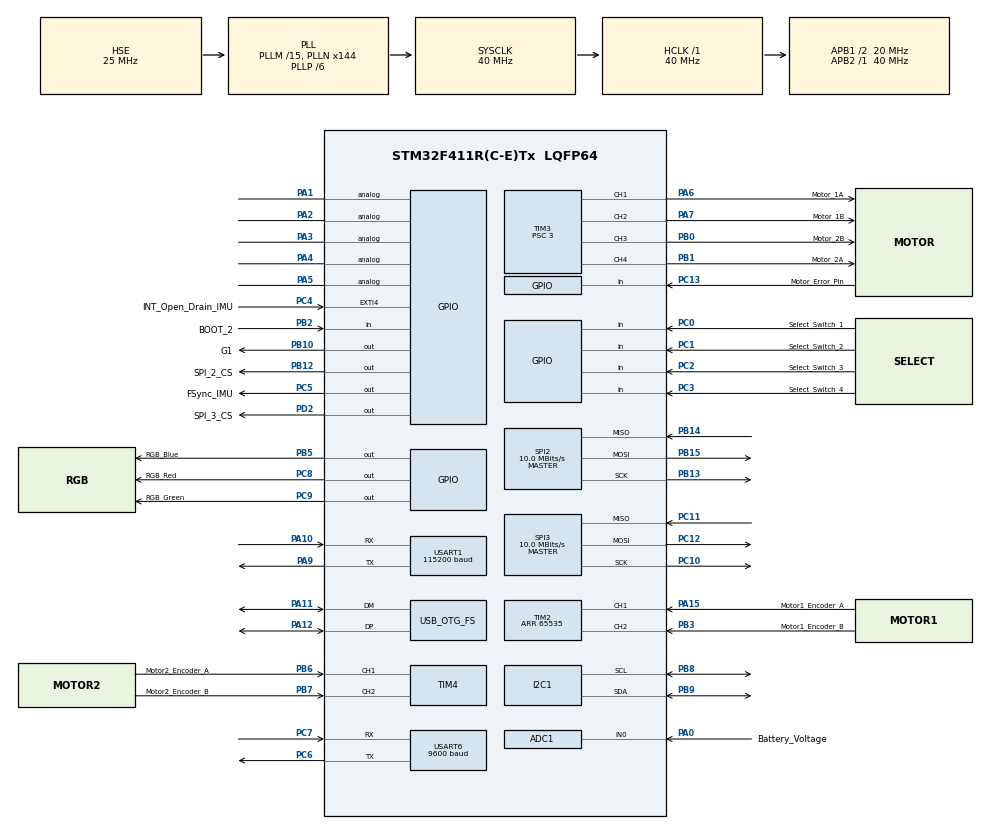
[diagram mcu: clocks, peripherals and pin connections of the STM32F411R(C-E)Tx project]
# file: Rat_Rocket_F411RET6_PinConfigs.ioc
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ADC1.Channel-7\#ChannelRegularConversion=ADC_CHANNEL_0
ADC1.NbrOfConversionFlag=1
ADC1.Rank-7\#ChannelRegularConversion=1
ADC1.SamplingTime-7\#ChannelRegularConversion=ADC_SAMPLETIME_480CYCLES
ADC1.master=1
Dma.Request0=USART1_RX
Dma.USART1_RX.0.Direction=DMA_PERIPH_TO_MEMORY
Dma.USART1_RX.0.FIFOMode=DMA_FIFOMODE_DISABLE
Dma.USART1_RX.0.Instance=DMA2_Stream2
Dma.USART1_RX.0.MemDataAlignment=DMA_MDATAALIGN_BYTE
Dma.USART1_RX.0.MemInc=DMA_MINC_ENABLE
Dma.USART1_RX.0.Mode=DMA_NORMAL
Dma.USART1_RX.0.PeriphDataAlignment=DMA_PDATAALIGN_BYTE
Dma.USART1_RX.0.PeriphInc=DMA_PINC_DISABLE
Dma.USART1_RX.0.Priority=DMA_PRIORITY_LOW
FREERTOS.Queues01=motorQueue,4,uint8_t,0,Dynamic,NULL,NULL;mazeQueue,4,20,1,Dynamic,NULL,NULL
FREERTOS.Tasks01=defaultTask,24,512,StartDefaultTask,Default,NULL,Dynamic,NULL,NULL
Mcu.Family=STM32F4
Mcu.Name=STM32F411R(C-E)Tx
Mcu.Package=LQFP64
NVIC.DMA2_Stream2_IRQn=true\:5\:0\:false\:false\:true\:true\:false\:true\:true
NVIC.OTG_FS_IRQn=true\:5\:0\:false\:false\:true\:true\:false\:true\:true
NVIC.PriorityGroup=NVIC_PRIORITYGROUP_4
NVIC.TIM1_UP_TIM10_IRQn=true\:15\:0\:false\:false\:true\:false\:false\:true\:true
NVIC.TimeBase=TIM1_UP_TIM10_IRQn
NVIC.TimeBaseIP=TIM10
NVIC.USART1_IRQn=true\:5\:0\:false\:false\:true\:true\:true\:true\:true
NVIC.USART6_IRQn=true\:5\:0\:false\:false\:true\:true\:true\:true\:true
PA0-WKUP.GPIO_Label=Battery_Voltage
PA0-WKUP.Signal=ADCx_IN0
PA1.Signal=SharedAnalog_PA1
PA10.Mode=Asynchronous
PA10.Signal=USART1_RX
PA11.Mode=Device_Only
PA11.Signal=USB_OTG_FS_DM
PA12.Mode=Device_Only
PA12.Signal=USB_OTG_FS_DP
PA13.Mode=Serial_Wire
PA13.Signal=SYS_JTMS-SWDIO
PA14.Mode=Serial_Wire
PA14.Signal=SYS_JTCK-SWCLK
PA15.GPIO_Label=Motor1_Encoder_A
PA15.Signal=S_TIM2_CH1_ETR
PA2.Signal=SharedAnalog_PA2
PA3.Signal=SharedAnalog_PA3
PA4.Signal=SharedAnalog_PA4
PA5.Signal=SharedAnalog_PA5
PA6.GPIO_Label=Motor_1A
PA6.Signal=S_TIM3_CH1
PA7.GPIO_Label=Motor_1B
PA7.Signal=S_TIM3_CH2
PA8.Signal=I2C3_SCL
PA9.Mode=Asynchronous
PA9.Signal=USART1_TX
PB0.GPIO_Label=Motor_2B
PB0.Signal=S_TIM3_CH3
PB1.GPIO_Label=Motor_2A
PB1.Signal=S_TIM3_CH4
PB10.GPIO_Label=G1
PB10.Signal=GPIO_Output
PB12.GPIO_Label=SPI_2_CS
PB12.Signal=GPIO_Output
PB13.Mode=Full_Duplex_Master
PB13.Signal=SPI2_SCK
PB14.Mode=Full_Duplex_Master
PB14.Signal=SPI2_MISO
PB15.Mode=Full_Duplex_Master
PB15.Signal=SPI2_MOSI
PB2.GPIO_Label=BOOT_2
PB2.Signal=GPIO_Input
PB3.GPIO_Label=Motor1_Encoder_B
PB3.Signal=S_TIM2_CH2
PB4.Signal=I2C3_SDA
PB5.GPIO_Label=RGB_Blue
PB5.Signal=GPIO_Output
PB6.GPIO_Label=Motor2_Encoder_A
PB6.Signal=S_TIM4_CH1
PB7.GPIO_Label=Motor2_Encoder_B
PB7.Signal=S_TIM4_CH2
PB8.Mode=I2C
PB8.Signal=I2C1_SCL
PB9.Mode=I2C
PB9.Signal=I2C1_SDA
PC0.GPIO_Label=Select_Switch_1
PC0.Signal=GPIO_Input
PC1.GPIO_Label=Select_Switch_2
PC1.Signal=GPIO_Input
PC10.Mode=Full_Duplex_Master
PC10.Signal=SPI3_SCK
PC11.Mode=Full_Duplex_Master
PC11.Signal=SPI3_MISO
PC12.Mode=Full_Duplex_Master
PC12.Signal=SPI3_MOSI
PC13-ANTI_TAMP.GPIO_Label=Motor_Error_Pin
PC13-ANTI_TAMP.Signal=GPIO_Input
PC2.GPIO_Label=Select_Switch_3
PC2.Signal=GPIO_Input
PC3.GPIO_Label=Select_Switch_4
PC3.Signal=GPIO_Input
PC4.GPIO_Label=INT_Open_Drain_IMU
PC4.Signal=GPXTI4
PC5.GPIO_Label=FSync_IMU
PC5.Signal=GPIO_Output
PC6.Mode=Asynchronous
PC6.Signal=USART6_TX
PC7.Mode=Asynchronous
PC7.Signal=USART6_RX
PC8.GPIO_Label=RGB_Red
PC8.Signal=GPIO_Output
PC9.GPIO_Label=RGB_Green
PC9.Signal=GPIO_Output
PD2.GPIO_Label=SPI_3_CS
PD2.Signal=GPIO_Output
PH0\ -\ OSC_IN.Mode=HSE-External-Oscillator
PH0\ -\ OSC_IN.Signal=RCC_OSC_IN
PH1\ -\ OSC_OUT.Mode=HSE-External-Oscillator
PH1\ -\ OSC_OUT.Signal=RCC_OSC_OUT
ProjectManager.HeapSize=0x200
ProjectManager.StackSize=0x400
ProjectManager.TargetToolchain=CMake
RCC.48MHZClocksFreq_Value=48000000
RCC.AHBFreq_Value=40000000
RCC.APB1CLKDivider=RCC_HCLK_DIV2
RCC.APB1Freq_Value=20000000
RCC.APB1TimFreq_Value=40000000
RCC.APB2Freq_Value=40000000
RCC.APB2TimFreq_Value=40000000
RCC.CortexFreq_Value=40000000
RCC.HCLKFreq_Value=40000000
RCC.HSE_VALUE=25000000
RCC.HSI_VALUE=16000000
RCC.LSE_VALUE=32768
RCC.PLLM=15
RCC.PLLN=144
RCC.PLLP=RCC_PLLP_DIV6
RCC.PLLQ=5
RCC.SYSCLKFreq_VALUE=40000000
RCC.SYSCLKSource=RCC_SYSCLKSOURCE_PLLCLK
RCC.VCOOutputFreq_Value=240000000
SH.ADCx_IN0.0=ADC1_IN0,IN0
SH.S_TIM2_CH1_ETR.0=TIM2_CH1,Encoder_Interface
SH.S_TIM2_CH2.0=TIM2_CH2,Encoder_Interface
SH.S_TIM3_CH1.0=TIM3_CH1,PWM Generation1 CH1
SH.S_TIM3_CH2.0=TIM3_CH2,PWM Generation2 CH2
SH.S_TIM3_CH3.0=TIM3_CH3,PWM Generation3 CH3
SH.S_TIM3_CH4.0=TIM3_CH4,PWM Generation4 CH4
SH.S_TIM4_CH1.0=TIM4_CH1,Encoder_Interface
SH.S_TIM4_CH2.0=TIM4_CH2,Encoder_Interface
SH.SharedAnalog_PA1.0=GPIO_Analog
SH.SharedAnalog_PA1.1=ADC1_IN1
SH.SharedAnalog_PA2.0=GPIO_Analog
SH.SharedAnalog_PA2.1=ADC1_IN2
SH.SharedAnalog_PA3.0=GPIO_Analog
SH.SharedAnalog_PA3.1=ADC1_IN3
SH.SharedAnalog_PA4.0=GPIO_Analog
SH.SharedAnalog_PA4.1=ADC1_IN4
SH.SharedAnalog_PA5.0=GPIO_Analog
SH.SharedAnalog_PA5.1=ADC1_IN5
SPI2.CalculateBaudRate=10.0 MBits/s
SPI2.Direction=SPI_DIRECTION_2LINES
SPI2.Mode=SPI_MODE_MASTER
SPI2.VirtualType=VM_MASTER
SPI3.CalculateBaudRate=10.0 MBits/s
SPI3.Direction=SPI_DIRECTION_2LINES
SPI3.Mode=SPI_MODE_MASTER
SPI3.VirtualType=VM_MASTER
TIM2.EncoderMode=TIM_ENCODERMODE_TI12
TIM2.IC1Filter=2
TIM2.IC2Filter=2
TIM2.Period=65535
TIM3.AutoReloadPreload=TIM_AUTORELOAD_PRELOAD_ENABLE
TIM3.Channel-PWM\ Generation1\ CH1=TIM_CHANNEL_1
TIM3.Channel-PWM\ Generation2\ CH2=TIM_CHANNEL_2
TIM3.Channel-PWM\ Generation3\ CH3=TIM_CHANNEL_3
TIM3.Channel-PWM\ Generation4\ CH4=TIM_CHANNEL_4
TIM3.Prescaler=3
TIM4.EncoderMode=TIM_ENCODERMODE_TI12
USART1.BaudRate=115200
USART1.VirtualMode=VM_ASYNC
USART6.BaudRate=9600
USART6.VirtualMode=VM_ASYNC
USB_DEVICE.CLASS_NAME_FS=CDC
USB_DEVICE.VirtualMode=Cdc
USB_DEVICE.VirtualModeFS=Cdc_FS
USB_OTG_FS.VirtualMode=Device_Only
VP_FREERTOS_VS_CMSIS_V2.Mode=CMSIS_V2
VP_SYS_VS_tim10.Mode=TIM10
VP_TIM3_VS_ClockSourceINT.Mode=Internal
VP_USB_DEVICE_VS_USB_DEVICE_CDC_FS.Mode=CDC_FS
board=custom

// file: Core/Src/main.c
/* USER CODE BEGIN Header */
/**
  ******************************************************************************
  * @file           : main.c
  * @brief          : Main program body
  ******************************************************************************
  * @attention
  *
  * Copyright (c) 2026 STMicroelectronics.
  * All rights reserved.
  *
  * This software is licensed under terms that can be found in the LICENSE file
  * in the root directory of this software component.
  * If no LICENSE file comes with this software, it is provided AS-IS.
  *
  ******************************************************************************
  */
/* USER CODE END Header */
#include "main.h"
#include "cmsis_os.h"
#include "adc.h"
#include "dma.h"
#include "i2c.h"
#include "spi.h"
#include "tim.h"
#include "usart.h"
#include "usb_device.h"
#include "gpio.h"

/* USER CODE BEGIN Includes */
#include "comm_uart.h"
#include "bt_log.h"
#include "motor.h"
/* USER CODE END Includes */

void SystemClock_Config(void);
void MX_FREERTOS_Init(void);

int main(void)
{

  /* MCU Configuration--------------------------------------------------------*/

  /* Reset of all peripherals, Initializes the Flash interface and the Systick. */
  HAL_Init();

  /* Configure the system clock */
  SystemClock_Config();

  /* Initialize all configured peripherals */
  MX_GPIO_Init();
  MX_DMA_Init();
  MX_ADC1_Init();
  MX_I2C1_Init();
  MX_SPI2_Init();
  MX_SPI3_Init();
  MX_TIM2_Init();
  MX_TIM3_Init();
  MX_TIM4_Init();
  MX_USART1_UART_Init();
  MX_USART6_UART_Init();
  /* USER CODE BEGIN 2 */

  UART_Comm_Init(); // initialize DMA Custom written code
  BT_Log_Init();    // Bluetooth console on USART6 (RX interrupt + TX ring buffer)
  HAL_TIM_PWM_Start(&htim3, TIM_CHANNEL_1);
  HAL_TIM_PWM_Start(&htim3, TIM_CHANNEL_2);
  HAL_TIM_PWM_Start(&htim3, TIM_CHANNEL_3);
  HAL_TIM_PWM_Start(&htim3, TIM_CHANNEL_4);

  TIM3->ARR = 1010; //Timer Clock 40Mhz, PSC 3 , Approx 10Khz(9990)
#if !MOTOR_OUTPUTS_ENABLED
  Motor_PinsHighZ();   /* driver short (2026-11-07): keep the MCU off the driver inputs */
#endif

  // Start Encoder Once
  HAL_TIM_Encoder_Start(&htim2, TIM_CHANNEL_ALL); // for Right Encoder
  TIM2->CNT = 0;

  HAL_TIM_Encoder_Start(&htim4, TIM_CHANNEL_ALL); // for Left Encoder
  TIM4->CNT = 0;

  /* USER CODE END 2 */

  /* Init scheduler */
  osKernelInitialize();

  /* Call init function for freertos objects (in cmsis_os2.c) */
  MX_FREERTOS_Init();

  /* Start scheduler */
  osKernelStart();

  /* We should never get here as control is now taken by the scheduler */

  /* Infinite loop */
  while (1)
  {

  }
}

void SystemClock_Config(void)
{
  RCC_OscInitTypeDef RCC_OscInitStruct = {0};
  RCC_ClkInitTypeDef RCC_ClkInitStruct = {0};

  /** Configure the main internal regulator output voltage
  */
  __HAL_RCC_PWR_CLK_ENABLE();
  __HAL_PWR_VOLTAGESCALING_CONFIG(PWR_REGULATOR_VOLTAGE_SCALE1);

  /** Initializes the RCC Oscillators according to the specified parameters
  * in the RCC_OscInitTypeDef structure.
  */
  RCC_OscInitStruct.OscillatorType = RCC_OSCILLATORTYPE_HSE;
  RCC_OscInitStruct.HSEState = RCC_HSE_ON;
  RCC_OscInitStruct.PLL.PLLState = RCC_PLL_ON;
  RCC_OscInitStruct.PLL.PLLSource = RCC_PLLSOURCE_HSE;
  RCC_OscInitStruct.PLL.PLLM = 15;
  RCC_OscInitStruct.PLL.PLLN = 144;
  RCC_OscInitStruct.PLL.PLLP = RCC_PLLP_DIV6;
  RCC_OscInitStruct.PLL.PLLQ = 5;
  if (HAL_RCC_OscConfig(&RCC_OscInitStruct) != HAL_OK)
  {
    Error_Handler();
  }

  /** Initializes the CPU, AHB and APB buses clocks
  */
  RCC_ClkInitStruct.ClockType = RCC_CLOCKTYPE_HCLK|RCC_CLOCKTYPE_SYSCLK
                              |RCC_CLOCKTYPE_PCLK1|RCC_CLOCKTYPE_PCLK2;
  RCC_ClkInitStruct.SYSCLKSource = RCC_SYSCLKSOURCE_PLLCLK;
  RCC_ClkInitStruct.AHBCLKDivider = RCC_SYSCLK_DIV1;
  RCC_ClkInitStruct.APB1CLKDivider = RCC_HCLK_DIV2;
  RCC_ClkInitStruct.APB2CLKDivider = RCC_HCLK_DIV1;

  if (HAL_RCC_ClockConfig(&RCC_ClkInitStruct, FLASH_LATENCY_1) != HAL_OK)
  {
    Error_Handler();
  }
}

void HAL_TIM_PeriodElapsedCallback(TIM_HandleTypeDef *htim)
{
  if (htim->Instance == TIM10) {
    HAL_IncTick();
  }
}

void Error_Handler(void)
{
  __disable_irq();
  while (1)
  {
  }
}

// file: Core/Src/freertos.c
/* USER CODE BEGIN Header */
/**
  ******************************************************************************
  * File Name          : freertos.c
  * Description        : Code for freertos applications
  ******************************************************************************
  * @attention
  *
  * Copyright (c) 2026 STMicroelectronics.
  * All rights reserved.
  *
  * This software is licensed under terms that can be found in the LICENSE file
  * in the root directory of this software component.
  * If no LICENSE file comes with this software, it is provided AS-IS.
  *
  ******************************************************************************
  */
/* USER CODE END Header */

#include "FreeRTOS.h"
#include "task.h"
#include "main.h"
#include "cmsis_os.h"

/* USER CODE BEGIN Includes */

#include "debug_log.h"
#include "motor.h"
#include "maze_main.h"
#include "bt_log.h"
#include "dip_switch.h"
#include "app_bt_test.h"
#include "app_motor_test.h"
#include "app_pid_test.h"
#include "app_maze.h"
#include <stdint.h>
/* USER CODE END Includes */

/* Definitions for defaultTask */
osThreadId_t defaultTaskHandle;
const osThreadAttr_t defaultTask_attributes = {
  .name = "defaultTask",
  .stack_size = 512 * 4,
  .priority = (osPriority_t) osPriorityNormal,
};
/* Definitions for motorQueue */
osMessageQueueId_t motorQueueHandle;
const osMessageQueueAttr_t motorQueue_attributes = {
  .name = "motorQueue"
};
/* Definitions for mazeQueue */
osMessageQueueId_t mazeQueueHandle;
const osMessageQueueAttr_t mazeQueue_attributes = {
  .name = "mazeQueue"
};

/* USER CODE BEGIN FunctionPrototypes */

osThreadId_t encoderTaskHandle;
const osThreadAttr_t encoderTask_attributes = {
  .name = "encoderTask",
  .stack_size = 128 * 4,
  .priority = (osPriority_t) osPriorityNormal,
};

void StartEncoderTask(void *argument);

/* USER CODE END FunctionPrototypes */

void StartDefaultTask(void *argument);

extern void MX_USB_DEVICE_Init(void);
void MX_FREERTOS_Init(void); /* (MISRA C 2004 rule 8.1) */

void MX_FREERTOS_Init(void) {

  /* Create the queue(s) */
  /* creation of motorQueue */
  motorQueueHandle = osMessageQueueNew (4, sizeof(uint8_t), &motorQueue_attributes);

  /* creation of mazeQueue */
  mazeQueueHandle = osMessageQueueNew (4, 20, &mazeQueue_attributes);

  /* Create the thread(s) */
  /* creation of defaultTask */
  defaultTaskHandle = osThreadNew(StartDefaultTask, NULL, &defaultTask_attributes);

  /* USER CODE BEGIN RTOS_THREADS */
  /* add threads, ... */
  encoderTaskHandle = osThreadNew(StartEncoderTask, NULL, &encoderTask_attributes);
  /* USER CODE END RTOS_THREADS */

}

void StartDefaultTask(void *argument)
{
  /* init code for USB_DEVICE */
  MX_USB_DEVICE_Init();
  /* USER CODE BEGIN StartDefaultTask */

  stop_Slow();

  /* Mode is chosen once at boot from the DIP switches. */
  uint8_t dip = DIP_Read();
  BT_LOG("Boot: DIP=0x%X mode=%s", dip, DIP_ModeName(dip));
#if !MOTOR_OUTPUTS_ENABLED
  BT_LOG("[MOTOR] driver outputs OFF (pins analog, see motor.h) - push the robot by hand");
#endif

  switch (dip) {
    case APP_MODE_BT_TEST:
      BtTest_Run(dip);   /* never returns */
      break;
    case APP_MODE_MOTOR_TEST:
      MotorTest_Run(dip); /* never returns */
      break;
    case APP_MODE_PID_TEST:
      PidTest_Run(dip);   /* never returns */
      break;
    case APP_MODE_MAZE:
      MazeApp_Run(dip);   /* never returns */
      break;
    case APP_MODE_WEB_SIM:
      break;             /* continue with the web-simulator flow below */
    default:
      BT_LOG("No mode assigned to DIP=0x%X, idling with motors off", dip);
      for (;;) { osDelay(1000); }
  }

  LOG_INFO("Main Maze begins");
  /*
  * Initialise the Walls based on out "L" finger rule.
  * All boundaries are marked as wall present and rest all as unseen
  */
  initWalls();

  // assign the goal.
  CELL goal = END;

  // set current cell to 0,0
  CURRENT_CELL.x = 0;
  CURRENT_CELL.y = 0;

  // Set current pointing Direction
  CURRENT_ABSOLUTE_DIRECTION = NORTH;

  /* Infinite loop */
  for(;;)
  {
    // SEND_TMSG("%s", test_Var);
    // do update walls and propagate Cost till current cell != goal
    gotoGoal(goal);
    osDelay(100);
    // give home as new goal and make the bot come back.
    // gotoGoal((CELL){0,0});
    // osDelay(100);
    LOG_INFO("Reached Home");

  }
  /* USER CODE END StartDefaultTask */
}

/* USER CODE BEGIN Application */

void StartEncoderTask(void *argument)
{
  /* USER CODE BEGIN StartEncoderTask */

  static int32_t prev_count_LE = 0;     // for Left Encoder
  static uint8_t prev_dir_LE = 0xFF;   // invalid initial value for Left Encoder

  static int32_t prev_count_RE = 0;     // for Right Encoder
  static uint8_t prev_dir_RE = 0xFF;   // invalid initial value for Right Encoder

  // Get the motor Direction values from the Queue
  MotionDirection nextMove = NONE;

   /* Infinite loop */
  /* Infinite loop */
  for(;;)
  {
    if (osMessageQueueGet(motorQueueHandle, &nextMove, 0, osWaitForever) == osOK) {
      switch (nextMove) {
        case FORWARD: {
          forward(850, 850);
          osDelay(200);
          stop_Slow();
          SEND_TMSG("FORWARD");
         }
        break;
        case REVERSE: {
          // reverse(850, 850); osDelay(200); stop_Slow();
          SEND_TMSG("REVERSE");
        } break;
        case LEFT: {
          // left(850, 850); osDelay(200); stop_Slow();
          SEND_TMSG("LEFT");
        } break;
        case RIGHT: {
          // right(850, 850); osDelay(200); stop_Slow();
          SEND_TMSG("RIGHT");
        } break;
        case UTURN: {
          // uTurn(850, 850); osDelay(200);
          SEND_TMSG("UTURN");
        } break;
        case NONE: {SEND_TMSG("NONE");} break;
        default:
      }
    }

  }
}

/* USER CODE END Application */
